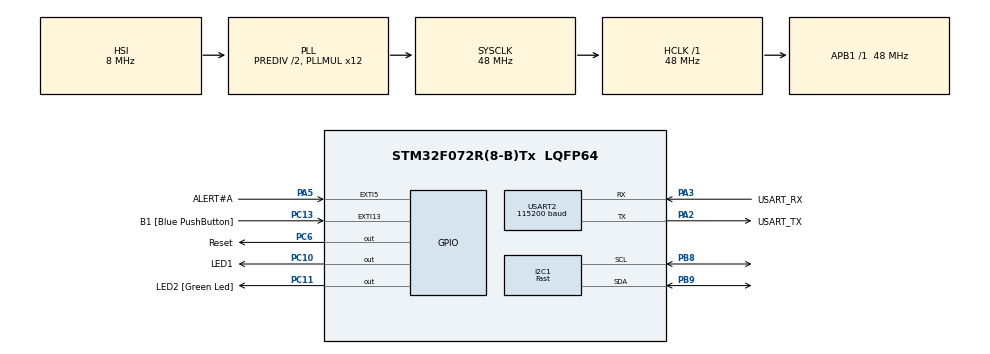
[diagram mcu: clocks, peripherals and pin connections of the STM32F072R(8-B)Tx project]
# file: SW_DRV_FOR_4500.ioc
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Dma.Request0=USART2_TX
Dma.USART2_TX.0.Direction=DMA_MEMORY_TO_PERIPH
Dma.USART2_TX.0.Instance=DMA1_Channel4
Dma.USART2_TX.0.MemDataAlignment=DMA_MDATAALIGN_BYTE
Dma.USART2_TX.0.MemInc=DMA_MINC_ENABLE
Dma.USART2_TX.0.Mode=DMA_NORMAL
Dma.USART2_TX.0.PeriphDataAlignment=DMA_PDATAALIGN_BYTE
Dma.USART2_TX.0.PeriphInc=DMA_PINC_DISABLE
Dma.USART2_TX.0.Priority=DMA_PRIORITY_LOW
I2C1.I2C_Speed_Mode=I2C_Fast
I2C1.Timing=0x0000020B
Mcu.Family=STM32F0
Mcu.Name=STM32F072R(8-B)Tx
Mcu.Package=LQFP64
NVIC.DMA1_Channel4_5_6_7_IRQn=true\:0\:0\:false\:false\:true
NVIC.EXTI4_15_IRQn=true\:0\:0\:false\:false\:true
NVIC.TIM1_BRK_UP_TRG_COM_IRQn=true\:0\:0\:false\:false\:true
NVIC.TimeBase=TIM1_BRK_UP_TRG_COM_IRQn
NVIC.TimeBaseIP=TIM1
NVIC.USART2_IRQn=true\:0\:0\:false\:false\:true
PA13.GPIO_Label=TMS
PA13.Mode=Serial_Wire
PA13.Signal=SYS_SWDIO
PA14.GPIO_Label=TCK
PA14.Mode=Serial_Wire
PA14.Signal=SYS_SWCLK
PA2.GPIO_Label=USART_TX
PA2.GPIO_Mode=GPIO_MODE_AF_PP
PA2.GPIO_PuPd=GPIO_NOPULL
PA2.GPIO_Speed=GPIO_SPEED_FREQ_LOW
PA2.Mode=Asynchronous
PA2.Signal=USART2_TX
PA3.GPIO_Label=USART_RX
PA3.GPIO_Mode=GPIO_MODE_AF_PP
PA3.GPIO_PuPd=GPIO_NOPULL
PA3.GPIO_Speed=GPIO_SPEED_FREQ_LOW
PA3.Mode=Asynchronous
PA3.Signal=USART2_RX
PA5.GPIO_Label=ALERT\#A
PA5.GPIO_ModeDefaultEXTI=GPIO_MODE_IT_FALLING
PA5.GPIO_PuPd=GPIO_PULLUP
PA5.Signal=GPXTI5
PB8.GPIO_FM8=__NULL
PB8.GPIO_PuPdOD=GPIO_PULLUP
PB8.GPIO_Speed=GPIO_SPEED_FREQ_MEDIUM
PB8.Mode=I2C
PB8.Signal=I2C1_SCL
PB9.GPIO_FM9=__NULL
PB9.GPIO_Speed=GPIO_SPEED_FREQ_MEDIUM
PB9.Mode=I2C
PB9.Signal=I2C1_SDA
PC10.GPIO_Label=LED1
PC10.Signal=GPIO_Output
PC11.GPIO_Label=LED2 [Green Led]
PC11.GPIO_ModeDefaultOutputPP=GPIO_MODE_OUTPUT_PP
PC11.GPIO_PuPd=GPIO_NOPULL
PC11.GPIO_Speed=GPIO_SPEED_FREQ_LOW
PC11.Signal=GPIO_Output
PC13.GPIO_Label=B1 [Blue PushButton]
PC13.GPIO_ModeDefaultEXTI=GPIO_MODE_IT_FALLING
PC13.GPIO_PuPd=GPIO_NOPULL
PC13.Signal=GPXTI13
PC14-OSC32_IN.Signal=RCC_OSC32_IN
PC15-OSC32_OUT.Signal=RCC_OSC32_OUT
PC6.GPIO_Label=Reset
PC6.Signal=GPIO_Output
PF0-OSC_IN.Signal=RCC_OSC_IN
PF1-OSC_OUT.Signal=RCC_OSC_OUT
ProjectManager.HeapSize=0x200
ProjectManager.StackSize=0x400
ProjectManager.TargetToolchain=EWARM
RCC.AHBFreq_Value=48000000
RCC.APB1Freq_Value=48000000
RCC.APB1TimFreq_Value=48000000
RCC.FLatency-AdvancedSettings=FLASH_LATENCY_1
RCC.HCLKFreq_Value=48000000
RCC.PLLDivider=RCC_PREDIV_DIV2
RCC.PLLMUL=RCC_PLL_MUL12
RCC.SYSCLKFreq_VALUE=48000000
RCC.SYSCLKSource=RCC_SYSCLKSOURCE_PLLCLK
USART2.BaudRate=115200
USART2.VirtualMode-Asynchronous=VM_ASYNC
USART2.WordLength=WORDLENGTH_8B
VP_SYS_VS_tim1.Mode=TIM1
board=NUCLEO-F072RB

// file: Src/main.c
/**
******************************************************************************
* File Name          : main.c
* Description        : Main program body
******************************************************************************
** This notice applies to any and all portions of this file
* that are not between comment pairs USER CODE BEGIN and
* USER CODE END. Other portions of this file, whether
* inserted by the user or by software development tools
* are owned by their respective copyright owners.
*
* COPYRIGHT(c) 2018 STMicroelectronics
*
* Redistribution and use in source and binary forms, with or without modification,
* are permitted provided that the following conditions are met:
*   1. Redistributions of source code must retain the above copyright notice,
*      this list of conditions and the following disclaimer.
*   2. Redistributions in binary form must reproduce the above copyright notice,
*      this list of conditions and the following disclaimer in the documentation
*      and/or other materials provided with the distribution.
*   3. Neither the name of STMicroelectronics nor the names of its contributors
*      may be used to endorse or promote products derived from this software
*      without specific prior written permission.
*
* THIS SOFTWARE IS PROVIDED BY THE COPYRIGHT HOLDERS AND CONTRIBUTORS "AS IS"
* AND ANY EXPRESS OR IMPLIED WARRANTIES, INCLUDING, BUT NOT LIMITED TO, THE
* IMPLIED WARRANTIES OF MERCHANTABILITY AND FITNESS FOR A PARTICULAR PURPOSE ARE
* DISCLAIMED. IN NO EVENT SHALL THE COPYRIGHT HOLDER OR CONTRIBUTORS BE LIABLE
* FOR ANY DIRECT, INDIRECT, INCIDENTAL, SPECIAL, EXEMPLARY, OR CONSEQUENTIAL
* DAMAGES (INCLUDING, BUT NOT LIMITED TO, PROCUREMENT OF SUBSTITUTE GOODS OR
* SERVICES; LOSS OF USE, DATA, OR PROFITS; OR BUSINESS INTERRUPTION) HOWEVER
* CAUSED AND ON ANY THEORY OF LIABILITY, WHETHER IN CONTRACT, STRICT LIABILITY,
* OR TORT (INCLUDING NEGLIGENCE OR OTHERWISE) ARISING IN ANY WAY OUT OF THE USE
* OF THIS SOFTWARE, EVEN IF ADVISED OF THE POSSIBILITY OF SUCH DAMAGE.
*
******************************************************************************
*/
#include "main.h"
#include "stm32f0xx_hal.h"
#include "dma.h"
#include "i2c.h"
#include "usart.h"
#include "gpio.h"

/* USER CODE BEGIN Includes */

#include "USB_PD_core.h"
#include "USB_PD_demo.h"
#include "PostProcessEvents.h"
/* USER CODE END Includes */

#define VBUS_POWERED_APPLICATION
//#define BATTERY_POWERED_APPLICATION

#define USBC_INTERRUPT_MODE 1
//#define USBC_POLLING_MODE 1

#define BUTTON_ACTION1 1
//#define BUTTON_ACTION2 1
//#define DEMO_PDO_ROLLING 1

#define USE_RESET_PIN
//#define USE_SWRESET

/* USER CODE BEGIN PV */
/* Private variables ---------------------------------------------------------*/

I2C_HandleTypeDef *hi2c[I2CBUS_MAX];
unsigned int Address;
unsigned int AddressSize = I2C_MEMADD_SIZE_8BIT;
uint8_t Buffer[12];
USB_PD_I2C_PORT STUSB45DeviceConf[USBPORT_MAX];
uint32_t timer_cnt = 0;
int Flag_count = 0;

/* USER CODE END PV */

void SystemClock_Config(void);

/* USER CODE BEGIN PFP */
/* Private function prototypes -----------------------------------------------*/
void push_button_Action_PdoChangeDemo(void);
void CheckUsbPdCommunicationEnded(void);
int CableDetectionPrint(void);
void CableDetection2(void);

STUSB_GEN1S_RDO_REG_STATUS_RegTypeDef Nego_RDO;
int PB_press=0;
int Time_elapse=1;
volatile uint8_t USB_PD_Interrupt_Flag[USBPORT_MAX] ;
volatile uint8_t push_button_Action_Flag[USBPORT_MAX];
volatile uint8_t Timer_Action_Flag[USBPORT_MAX];
extern USB_PD_StatusTypeDef PD_status[USBPORT_MAX];
extern USB_PD_CTRLTypeDef   PD_ctrl[USBPORT_MAX];
extern USB_PD_SNK_PDO_TypeDef PDO_SNK[USBPORT_MAX][3];
extern uint8_t PDO_SNK_NUMB[USBPORT_MAX];
uint8_t flag_once=1;

/* USER CODE END PFP */

int main(void)
{

  /* USER CODE BEGIN 1 */
  uint8_t Cut[USBPORT_MAX];
  int Usb_Port = 0;
  int Status;

  /* USER CODE END 1 */

  /* MCU Configuration----------------------------------------------------------*/

  /* Reset of all peripherals, Initializes the Flash interface and the Systick. */
  HAL_Init();

  /* Configure the system clock */
  SystemClock_Config();

  /* Initialize all configured peripherals */
  MX_GPIO_Init();
  //    MX_DMA_Init();
  MX_I2C1_Init();
#ifdef PRINTF
  MX_USART2_UART_Init();
#endif
  /* USER CODE BEGIN 2 */

  printf("\r\n\r\n=================== USB PD Sink Firmware v1.00 ===================\r\n");

  hi2c[0]= &hi2c1;
  //  hi2c[1]= &hi2c2;
  STUSB45DeviceConf[Usb_Port].I2cBus = Usb_Port;
  STUSB45DeviceConf[Usb_Port].I2cDeviceID_7bit = 0x28;
  AddressSize = I2C_MEMADD_SIZE_8BIT;

  for(int i=0; i<10; i++)
  {
    Status = I2C_Read_USB_PD(STUSB45DeviceConf[Usb_Port].I2cBus,STUSB45DeviceConf[Usb_Port].I2cDeviceID_7bit, REG_DEVICE_ID ,&Cut[Usb_Port], 1 );
    if(Status != 0)
    {
      printf("I2C Error\r\n");

      if(i>=9)
      {
        printf(" STUSB45 Not detected\r\n");
        return -1;
      }
    }
    else if(Status == 0)
    {
      printf("I2C Ok\r\n");
      break; //exit loop
    }
  }

#ifdef PRINTF
  if( (Cut[Usb_Port] == STUSB4500_ID ) || (Cut[Usb_Port] == STUSB4500_ID_B ))
  {
    printf("STUSB4500 detected. (0x%02x)\r\n", Cut[0]);
  }
  else
  {
    printf("STUSB4500 Not detected. (0x%02x)\r\n", Cut[0]);
    return -1;
  }
#endif

  int CableAttachedStatus = CableDetectionPrint();

  if(CableAttachedStatus >= 1)
  {
    Print_RDO(Usb_Port);
  }

#if 0 //optional reset
  if(CableAttachedStatus >= 1) //reset for VBUS_POWERED_APPLICATION
  {

    printf("Power Source SW-RESET ...");
    PdMessage_SoftReset_WithTimeout(); //To make the Source send its PDO Capabilities
  }
  else
  {

#ifdef USE_RESET_PIN
    printf("Resetting the STUSB4500 (Hard-RESET) \r\n");
    HW_Reset_state(Usb_Port);

#else
    printf("STUSB4500 SW-RESET ");
    Status = SW_reset_by_Reg(Usb_Port);
    usb_pd_init(Usb_Port); //refresh main registers & IRQ mask init needed after reset
    Status = I2C_Read_USB_PD(STUSB45DeviceConf[Usb_Port].I2cBus,STUSB45DeviceConf[Usb_Port].I2cDeviceID_7bit, REG_DEVICE_ID, &Cut[Usb_Port], 1 );
#endif
  }
#endif

  if(CableAttachedStatus >= 1)
  {
    GetSrcCap(Usb_Port); //Get Source Capabilities and Print them
  }

  printf("Changing the Sink PDOs ... \r\n");
  Update_Valid_PDO_Number( Usb_Port, 3 );
  Update_PDO(Usb_Port, 1, 5000, 1500);
  Update_PDO(Usb_Port, 2, 9000, 1000);
  Update_PDO(Usb_Port, 3, 20000, 1000);

  if(CableAttachedStatus >= 1)
  {
    PdMessage_SoftReset_WithTimeout(); //To force negociation with the new Sink PDO
  }
  else
  {

#ifdef USE_RESET_PIN
    //printf("Resetting the STUSB4500 (Hard-RESET) \r\n");
    HW_Reset_state(Usb_Port);

#else
    //printf("STUSB4500 SW-RESET ");
    Status = SW_reset_by_Reg(Usb_Port);
    usb_pd_init(Usb_Port); //refresh main registers & IRQ mask init needed after reset
    Status = I2C_Read_USB_PD(STUSB45DeviceConf[Usb_Port].I2cBus,STUSB45DeviceConf[Usb_Port].I2cDeviceID_7bit, REG_DEVICE_ID , &Cut[Usb_Port], 1 );
#endif
  }

  Read_SNK_PDO(Usb_Port);
  Print_SNK_PDO(Usb_Port);

#ifdef DEMO_PDO_ROLLING
  Time_elapse = PDO_SNK_NUMB[Usb_Port];
#endif

  push_button_Action_Flag[Usb_Port]=0; //clear

  /* USER CODE END 2 */

  /* Infinite loop */
  /* USER CODE BEGIN WHILE */
  while (1)
  {

#if USBC_INTERRUPT_MODE
    PostProcess_UsbEvents();

#elif USBC_POLLING_MODE
    CableDetection2();
    CheckUsbPdCommunicationEnded();
#endif

    if( push_button_Action_Flag[Usb_Port] == 1  )
    {
#if BUTTON_ACTION1
      push_button_Action_SelectNextPdo(); //PDO_clicker: select the next PDO available.
#elif BUTTON_ACTION2
      push_button_Action_PdoChangeDemo();
#endif
    }

#ifdef DEMO_PDO_ROLLING  // Define to enable the STUSB4500_PDO_rolling_DEMO
    if( Timer_Action_Flag[Usb_Port] == 1  )
      Timer_Action();
#endif

  }
  /* USER CODE END 3 */

}

int CableDetectionPrint(void)
{
  int CableAttachedStatus = 0;

  printf("\r\n=== CABLE: ");

  if(CableAttachedStatus = CheckCableAttached() >= 1) //USB-C cable attached
  {
    if( CableAttachedStatus == 1)
    {
      printf("Attached [CC1] ");
    }
    else if( CableAttachedStatus == 2)
    {
      printf("Attached [CC2] ");
    }
  }
  else
  {
    printf("Not-attached ");
  }

  printf("\r\n");
  return CableAttachedStatus;
}

//check previous attachement status, to avoid unecessary printf
void CableDetection2(void)
{
  int CableAttachedStatus = 0;
  static int CableAttachedStatus_previous = 0;

  CableAttachedStatus = CheckCableAttached();
  if(CableAttachedStatus != CableAttachedStatus_previous)
  {
    CableAttachedStatus_previous = CableAttachedStatus;

    printf("\r\n=== CABLE: ");

    if(CableAttachedStatus >= 1) //USB-C cable attached
    {
      if( CableAttachedStatus == 1)
      {
        printf("Attached [CC1] ");
      }
      else if( CableAttachedStatus == 2)
      {
        printf("Attached [CC2] ");
      }
    }
    else
    {
      printf("Not-attached ");
    }

    printf("\r\n");
  }
}

void CheckUsbPdCommunicationEnded(void)
{
  int CableAttachedStatus = 0;
  static int UsbPdCommunicationEnded_Flag = 0;

  if( (CableAttachedStatus = CheckCableAttached() >= 1) //USB-C cable attached
     && (UsbPdCommunicationEnded_Flag == 0) ) //to print only once after connection
  {
    int status;
    uint8_t UsbPort = 0;
    uint8_t Data;

    // read USB-PD Policy Engine status
    status = I2C_Read_USB_PD(STUSB45DeviceConf[UsbPort].I2cBus,STUSB45DeviceConf[UsbPort].I2cDeviceID_7bit, STUSB_PE_FSM_STATE, &Data, 1);
    if(status == 0) //OK
    {
      if(Data == PE_SNK_READY)
      {
        printf("USB-PowerDelivery negociation finished\r\n");
        UsbPdCommunicationEnded_Flag = 1;

        int Usb_Port = 0;
        Print_RDO(Usb_Port);
      }
      else if(Data == PE_DISABLED)
      {
        printf("USB-C only detection finished (no USB PD)\r\n");
        int Usb_Port = 0;
        Print_TypeC_MaxCurrentAt5V_FROM_SRC(Usb_Port);
        UsbPdCommunicationEnded_Flag = 1;
      }
    }
  }
  else if(CableAttachedStatus == 0) //cable not attached
  {
    UsbPdCommunicationEnded_Flag = 0; //clear
  }
}

/** System Clock Configuration
*/
void SystemClock_Config(void)
{

  RCC_OscInitTypeDef RCC_OscInitStruct;
  RCC_ClkInitTypeDef RCC_ClkInitStruct;
  RCC_PeriphCLKInitTypeDef PeriphClkInit;

  /**Initializes the CPU, AHB and APB busses clocks
  */
  RCC_OscInitStruct.OscillatorType = RCC_OSCILLATORTYPE_HSI;
  RCC_OscInitStruct.HSIState = RCC_HSI_ON;
  RCC_OscInitStruct.HSICalibrationValue = 16;
  RCC_OscInitStruct.PLL.PLLState = RCC_PLL_ON;
  RCC_OscInitStruct.PLL.PLLSource = RCC_PLLSOURCE_HSI;
  RCC_OscInitStruct.PLL.PLLMUL = RCC_PLL_MUL12;
  RCC_OscInitStruct.PLL.PREDIV = RCC_PREDIV_DIV2;
  if (HAL_RCC_OscConfig(&RCC_OscInitStruct) != HAL_OK)
  {
    _Error_Handler(__FILE__, __LINE__);
  }

  /**Initializes the CPU, AHB and APB busses clocks
  */
  RCC_ClkInitStruct.ClockType = RCC_CLOCKTYPE_HCLK|RCC_CLOCKTYPE_SYSCLK
    |RCC_CLOCKTYPE_PCLK1;
  RCC_ClkInitStruct.SYSCLKSource = RCC_SYSCLKSOURCE_PLLCLK;
  RCC_ClkInitStruct.AHBCLKDivider = RCC_SYSCLK_DIV1;
  RCC_ClkInitStruct.APB1CLKDivider = RCC_HCLK_DIV1;

  if (HAL_RCC_ClockConfig(&RCC_ClkInitStruct, FLASH_LATENCY_1) != HAL_OK)
  {
    _Error_Handler(__FILE__, __LINE__);
  }

  PeriphClkInit.PeriphClockSelection = RCC_PERIPHCLK_USART2|RCC_PERIPHCLK_I2C1;
  PeriphClkInit.Usart2ClockSelection = RCC_USART2CLKSOURCE_PCLK1;
  PeriphClkInit.I2c1ClockSelection = RCC_I2C1CLKSOURCE_HSI;
  if (HAL_RCCEx_PeriphCLKConfig(&PeriphClkInit) != HAL_OK)
  {
    _Error_Handler(__FILE__, __LINE__);
  }

  /**Configure the Systick interrupt time
  */
  HAL_SYSTICK_Config(HAL_RCC_GetHCLKFreq()/1000);

  /**Configure the Systick
  */
  HAL_SYSTICK_CLKSourceConfig(SYSTICK_CLKSOURCE_HCLK);

  /* SysTick_IRQn interrupt configuration */
  HAL_NVIC_SetPriority(SysTick_IRQn, 0, 0);
}

/* USER CODE BEGIN 4 */
/**
* @brief  EXTI line detection callback.
* @param  GPIO_Pin Specifies the port pin connected to corresponding EXTI line.
* @retval None
*/
void HAL_GPIO_EXTI_Callback(uint16_t GPIO_Pin)
{
  int Usb_Port = 0;
  switch(GPIO_Pin)
  {

  case ( ALERT_A_Pin)://B1_Pin
    {
      USB_PD_Interrupt_Flag[Usb_Port] = 1;
    } break;

    // SELECT HERE WHICH function must be attached to the BLUE push button
  case ( B1_Pin)://B1_Pin
    {
      push_button_Action_Flag[Usb_Port] = 1 ;
      PB_press ++ ;
    } break;
  }

#if USBC_INTERRUPT_MODE
  if(USB_PD_Interrupt_Flag[Usb_Port] != 0)
  {
    ALARM_MANAGEMENT(Usb_Port);
  }
#endif

}

void push_button_DebugIrq(void)
{
  uint8_t Usb_Port = 0;
#ifdef PRINTF
  printf("Push button \r\n");
#endif

  //--------------------------------------
#if 1
  //Debug
  int Status;
  int Address;
  unsigned char DataRW[20];

  STUSB_GEN1S_ALERT_STATUS_RegTypeDef Alert_Status;
  STUSB_GEN1S_ALERT_STATUS_MASK_RegTypeDef Alert_Mask;

  // clear all ALERT Status
  Address = ALERT_STATUS_1;
  Status = I2C_Read_USB_PD(STUSB45DeviceConf[Usb_Port].I2cBus,STUSB45DeviceConf[Usb_Port].I2cDeviceID_7bit ,Address ,&DataRW[0], 13 );  // clear ALERT Status
  if(Status != 0) return; //Error

  for(int i=0; i<13; i++)
  {
    printf("%2X ", DataRW[i]);
  }
  //printf("\r\n");

  Alert_Mask.d8 = DataRW[1];
  //Alert_Status.d8 = DataRW[0] & ~Alert_Mask.d8;
  Alert_Status.d8 = DataRW[0];

  if (Alert_Status.d8 != 0)
  {
    printf("status:%X ", Alert_Status.d8);
    printf("status_masked:%X ", DataRW[0] & ~Alert_Mask.d8);

    //bit-7
    if (Alert_Status.b.HARD_RESET_AL !=0)
    {
#if DEBUG_PRINTF
      printf("bit-7 Alarm HARD_RESET_AL, ");
#endif
    }

    //bit-6 //Change occurred on PORT_STATUS_TRANS register  (see CC_STATUS register).
    if (Alert_Status.b.CC_DETECTION_STATUS_AL !=0)
    {
#if DEBUG_PRINTF
      printf("bit-6 Alarm PORT_STATUS, ");
#endif
    }

    //bit-5 //Change occurred on MONITORING_STATUS_TRANS register (see POWER_STATUS register).
    //VALUE_TYPEC_MONITORING_STATUS_AL
    if (Alert_Status.b.MONITORING_STATUS_AL !=0)
    {
#if DEBUG_PRINTF
      printf("bit-5 Alarm TYPEC_MONITORING_STATUS, ");
#endif
    }

    //bit-4 //Change occurred on HW_FAULT_STATUS_TRANS register (Hardware fault from analog logic)
    //CC_HW_FAULT_STATUS_AL
    if (Alert_Status.b.HW_FAULT_STATUS_AL !=0)
    {
#if DEBUG_PRINTF
      printf("bit-4 Alarm C_HW_FAULT_STATUS, ");
#endif
    }

    //bit-3 //DPM layer alert
    //DPM_STATUS_AL
    if (Alert_Status.b.PD_TYPEC_STATUS_AL !=0)
    {
#if DEBUG_PRINTF
      printf("bit-3 Alarm DPM_STATUS, ");
#endif
    }

    //bit-1 //Protocol layer alert
    //PRT_STATUS_AL
    if (Alert_Status.b.PRT_STATUS_AL !=0) //Protocol layer alert (for USB PD mode)
    {

#if DEBUG_PRINTF
      printf("bit-1 Alarm PRT_STATUS, ");
#endif
    }

    //bit-0 //Physical layer alert
    //VALUE_PHY_STATUS_AL
    if (Alert_Status.b.PHY_STATUS_AL !=0)
    {
#if DEBUG_PRINTF
      printf("bit-0 Alarm PHY_STATUS, ");
#endif
    }
  }

  printf("SW-RESET ");
  SW_reset_by_Reg(Usb_Port);

  usb_pd_init(0); //refresh main registers & IRQ mask init needed after reset
#endif

  //--------------------------------------
  Print_requested_PDO_Voltage();
  //--------------------------------------

  push_button_Action_Flag[Usb_Port] = 0 ;
}

#if BUTTON_ACTION2

void push_button_Action_PdoChangeDemo(void)
{
  uint8_t Usb_Port = 0;
#ifdef PRINTF
  printf("Push button \r\n");
#endif
#if 1
  printf("[%d]", PB_press%5);

  /*update PDO num to 1 then Reset */
  switch (PB_press%5)  /* line for 4 state */
  {
  case 0:

    break ;
  case 1 :
    {
      printf("Forcing New PDO\r\n");
      flag_once = 1;
      Set_New_PDO_case1(Usb_Port); /*set PDO2 15V 1.5A , PDO3 20V 1.5A*/
      SW_reset_by_Reg(Usb_Port);

      Print_RDO(Usb_Port);
    }
    break;
  case 2 :
    {
      printf("Forcing 5V\r\n");
      flag_once = 1;
      Negotiate_5V(Usb_Port); /* set Number of PDO to 1 */
      SW_reset_by_Reg(Usb_Port);
    }
    break;
  case 3 :
    {
      printf("Matching 15V PDO\r\n");
      flag_once = 1;
      if (! Find_Matching_SRC_PDO(Usb_Port,15,14000,20000))
      {
        printf("No match :( \r\n");
        SW_reset_by_Reg(Usb_Port);
      }

    }
    break;
  case  4:
    {
      printf("HW reset\r\n");

      HW_Reset_state(0);
      PB_press = 0 ;
      Time_elapse = 3;
    }
    break;
  default :

    break;
  }
#endif

  push_button_Action_Flag[Usb_Port] = 0 ; //clear
}
#endif

void push_button_Action_SelectNextPdo(void)
{
  uint8_t Usb_Port = 0;
  int status;

#ifdef PRINTF
  printf("\r\n------------------------------------------------");
  printf("\r\n>>> Push-Button: ");
#endif

  printf("Selecting Next PDO... ");
  status = Select_Next_PDO_SRC(Usb_Port, NULL);
  if (status != 0)
  {
    printf("ERROR %d\r\n", status);
  }

  Print_SNK_PDO(Usb_Port);

  push_button_Action_Flag[Usb_Port] = 0 ; //clear
}

#ifdef DEMO_PDO_ROLLING

void Timer_Action(void)
{
  int Usb_Port = 0;
  //int i =0;
  int Status;

  if(PB_press == 0 )
  {
#ifdef PRINTF
    printf("\r\n--- Timer Action ---\r\n");
#endif
    switch(Time_elapse )
    {
    case 1 :
      {

        /*update PDO num to 1 then Reset */
#ifdef PRINTF
        printf(" STUSB45 Reset(1) \r\n");
#endif
        Update_Valid_PDO_Number( Usb_Port , 1 );
        if (Flag_count)
          Time_elapse ++ ;
        else
          Time_elapse -- ;
      } break;
    case 2 :
      {
#ifdef PRINTF
        printf(" STUSB45 Reset(2) \r\n");
#endif          /*update PDO num to 1 then Reset */
        Update_Valid_PDO_Number( Usb_Port , 2 );

        if (Flag_count)
          Time_elapse ++ ;
        else
          Time_elapse -- ;
      } break;
    case 3 :
      {
#ifdef PRINTF
        printf(" STUSB45 Reset(3) \r\n");
#endif          /*update PDO num to 1 then Reset */
        Update_PDO(Usb_Port,2,9000,1500);
        Update_PDO(Usb_Port,3,12000,1500);

        Update_Valid_PDO_Number( Usb_Port , 3 );
        if (Flag_count)
          Time_elapse ++ ;
        else
          Time_elapse -- ;
      } break;

    case 4 :
      {
#ifdef PRINTF
        printf(" STUSB45 Reset(4) \r\n");
#endif          /*update PDO num to 1 then Reset */
        Update_PDO(Usb_Port,2,15000,1500);
        Update_PDO(Usb_Port,3,20000,1500);
        Update_Valid_PDO_Number( Usb_Port , 2 );
        if (Flag_count)
          Time_elapse ++ ;
        else
          Time_elapse -- ;
      } break;

    case 5 :
      {
#ifdef PRINTF
        printf(" STUSB45 Reset(5) \r\n");
#endif          /*update PDO num to 1 then Reset */
        Update_PDO(Usb_Port,2,15000,1500);
        Update_PDO(Usb_Port,3,20000,1500);
        Update_Valid_PDO_Number( Usb_Port , 3 );
        if (Flag_count)
          Time_elapse ++ ;
        else
          Time_elapse -- ;
      } break;

    default :
      Time_elapse = 1;
      break;
    }

    flag_once = 1;
    SW_reset_by_Reg(Usb_Port);
    Status = I2C_Read_USB_PD(STUSB45DeviceConf[Usb_Port].I2cBus,STUSB45DeviceConf[Usb_Port].I2cDeviceID_7bit ,PORT_STATUS ,&PD_status[Usb_Port].Port_Status.d8, 1 );
    if(Status != 0) return; //Error

    if ( Time_elapse == 1)
      Flag_count = 1 ;
    if ( Time_elapse == 5)
      Flag_count = 0 ;
  }

  Timer_Action_Flag[Usb_Port] = 0 ;
}
#endif

/* USER CODE END 4 */

void HAL_TIM_PeriodElapsedCallback(TIM_HandleTypeDef *htim)
{
  uint8_t Usb_Port = 0;
  if (htim->Instance == TIM1) {
    HAL_IncTick();
  }
  /* USER CODE BEGIN Callback 1 */
  if (PD_status[Usb_Port].Port_Status.b.CC_ATTACH_STATE != 0)
  {
    timer_cnt ++ ;
    if (timer_cnt == 5000)
    {
      Timer_Action_Flag[0] = 1;
      timer_cnt = 0;
    }
  }
  /* USER CODE END Callback 1 */
}

void _Error_Handler(char * file, int line)
{
  while(1)
  {
  }
}

/************************ (C) COPYRIGHT STMicroelectronics *****END OF FILE****/
